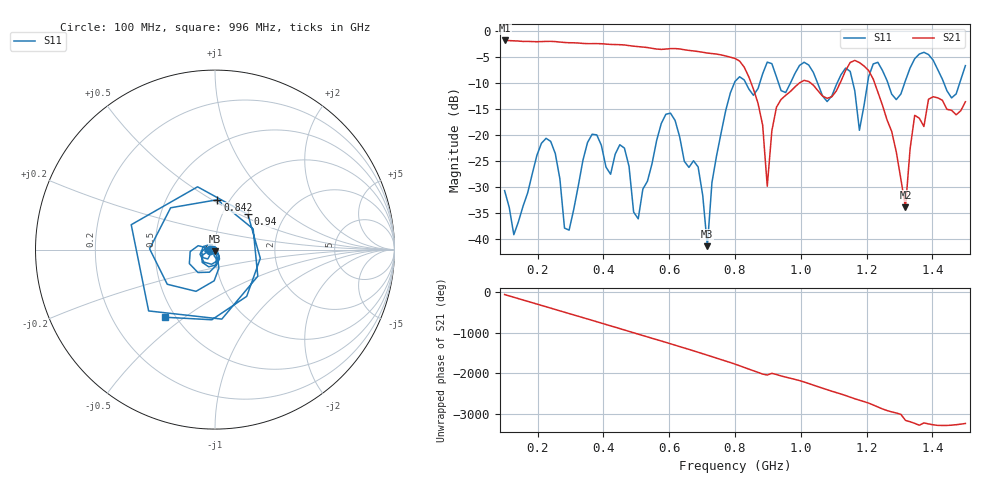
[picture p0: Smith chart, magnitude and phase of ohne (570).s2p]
! NanoVNA-App
! Date: 2025-09-25 14:25:14
! Start: 100MHz Stop: 1,5GHz Points: 101
! S-Parameter data: F S11 S21 S12 S22
# Hz S RI R 50
!  Frequency  S11_Real  S11_Imag  S21_Real  S21_Imag  S12_Real  S12_Imag  S22_Real  S22_Imag
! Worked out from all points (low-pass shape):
!   101 points, 100 MHz to 1.5 GHz, reference 50 ohm
!   highest |S21| = -1.79 dB at 100 MHz (marker M1); lowest = -33.9 dB at 1.318 GHz (marker M2)
!   |S21| within 3 dB of the highest: start of sweep to 772.7 MHz
!   lowest |S11| = -41.3 dB at 716 MHz (marker M3), VSWR 1.02, Z = 49.8 - j0.843 ohm
!   |S11| at or under -10 dB: start of sweep to 797.8 MHz; 833 MHz to 875.1 MHz (42.08 MHz wide, 4.93 % of centre); 1.051 GHz to 1.11 GHz (59.04 MHz wide, 5.46 % of centre) (the widest 3 of 7)
!   S12 and S22 are empty: the file has one direction only
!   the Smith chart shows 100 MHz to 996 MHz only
!   S11 on the Smith chart (normalised r, x): 100 MHz: 0.94, -0.01; 842 MHz: 0.88, +0.53; 940 MHz: 1.31, +0.56; 996 MHz: 0.44, -0.42
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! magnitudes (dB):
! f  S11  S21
! 100 MHz  -30.6  -1.8
! 128 MHz  -39.1  -1.9
! 226 MHz  -20.6  -2.0
! 296 MHz  -38.2  -2.2
! 338 MHz  -24.8  -2.4
! 464 MHz  -22.5  -2.7
! 506 MHz  -36.1  -3.0
! 576 MHz  -17.7  -3.5
! 688 MHz  -26.1  -3.9
! 716 MHz  -41.3  -4.2
! 800 MHz  -9.7  -5.3
! 842 MHz  -11.1  -8.8
! 898 MHz  -6.0  -29.8
! 940 MHz  -11.4  -13.1
! 996 MHz  -6.6  -9.9
! 1.038 GHz  -7.9  -10.4
! 1.178 GHz  -19.0  -6.0
! 1.22 GHz  -6.3  -9.2
! 1.276 GHz  -12.1  -19.3
! 1.318 GHz  -9.5  -33.9
! 1.346 GHz  -5.3  -16.2
! 1.5 GHz  -6.6  -13.6
